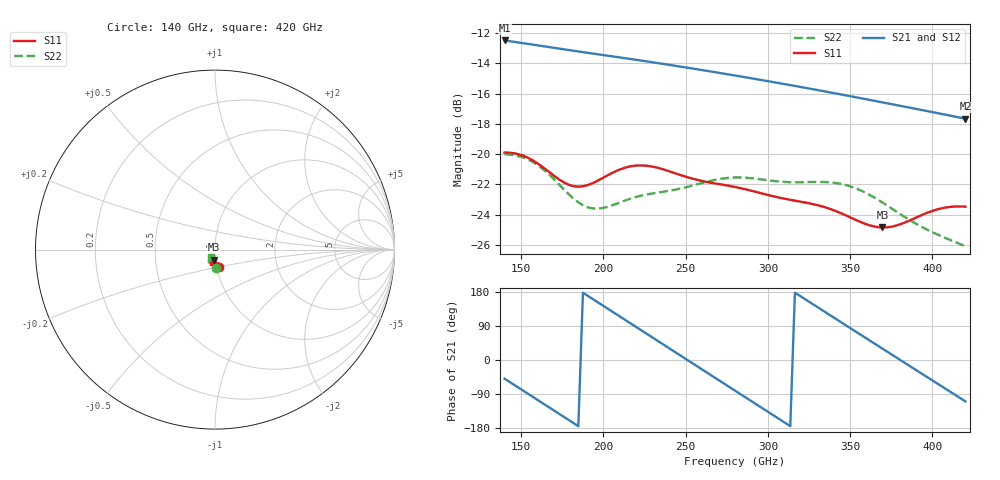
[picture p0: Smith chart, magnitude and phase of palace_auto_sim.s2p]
#  GHZ S DB R 50
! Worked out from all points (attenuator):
!   101 points, 140 GHz to 420 GHz, reference 50 ohm
!   highest |S21| = -12.48 dB at 140 GHz (marker M1); lowest = -17.7 dB at 420 GHz (marker M2)
!   lowest |S11| = -24.8 dB at 369.6 GHz (marker M3), VSWR 1.12, Z = 48.9 - j5.58 ohm
!   |S11| at or under -10 dB: start of sweep to end of sweep
!   |S22| runs from -26.1 to -20.0 dB; largest |S21 - S12| = 3.5e-13
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140  -19.89 -78.0  -12.48 -49.4  -12.48 -49.4  -20.00 -86.2
151.2  -20.10 -81.1  -12.66 -80.7  -12.66 -80.7  -20.21 -89.4
162.4  -20.79 -84.0  -12.84 -112.0  -12.84 -112.0  -20.91 -93.7
176.4  -21.89 -82.5  -13.07 -151.2  -13.07 -151.2  -22.37 -95.2
187.6  -22.12 -77.7  -13.25 177.6  -13.25 177.6  -23.37 -91.1
198.8  -21.62 -75.1  -13.43 146.3  -13.43 146.3  -23.57 -85.0
212.8  -20.90 -78.0  -13.65 107.1  -13.65 107.1  -23.08 -81.5
224  -20.74 -82.8  -13.83 75.8  -13.83 75.8  -22.72 -81.9
235.2  -20.96 -87.4  -14.01 44.4  -14.01 44.4  -22.50 -82.9
254.8  -21.63 -91.8  -14.35 -10.4  -14.35 -10.4  -22.06 -84.9
268.8  -21.95 -93.6  -14.60 -49.5  -14.60 -49.5  -21.68 -88.3
280  -22.17 -95.3  -14.80 -80.8  -14.80 -80.8  -21.54 -92.2
291.2  -22.45 -97.1  -15.01 -112.1  -15.01 -112.1  -21.60 -96.0
305.2  -22.83 -98.5  -15.27 -151.1  -15.27 -151.1  -21.79 -99.6
316.4  -23.07 -99.4  -15.49 177.7  -15.49 177.7  -21.85 -101.9
327.6  -23.30 -100.6  -15.71 146.5  -15.71 146.5  -21.83 -104.8
347.2  -24.03 -102.3  -16.11 92.1  -16.11 92.1  -22.04 -112.6
369.6  -24.84 -97.4  -16.58 30.0  -16.58 30.0  -23.19 -120.8
375.2  -24.79 -95.5  -16.69 14.5  -16.69 14.5  -23.59 -121.9
386.4  -24.37 -93.0  -16.93 -16.5  -16.93 -16.5  -24.37 -122.7
400.4  -23.73 -93.8  -17.23 -55.1  -17.23 -55.1  -25.18 -121.9
420  -23.47 -98.4  -17.65 -109.2  -17.65 -109.2  -26.08 -119.8
